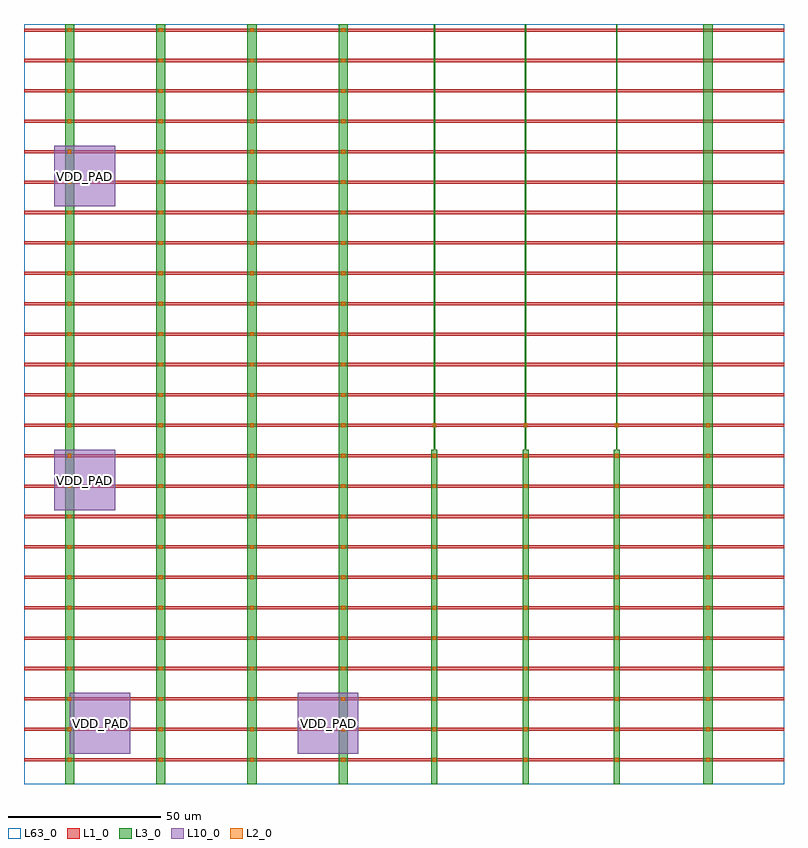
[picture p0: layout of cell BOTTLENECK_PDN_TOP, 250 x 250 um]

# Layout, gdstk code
import gdstk
lib = gdstk.Library(unit=1e-6, precision=1e-09)
def R(c, l, rs):  # rectangles x0, y0, x1, y1
    for r in rs: c.add(gdstk.rectangle(r[:2], r[2:], *l))
def A(c, l, x, y, w, h, nx, ny, dx, dy):  # array of equal rectangles
    R(c, l, [(x+i*dx, y+j*dy, x+i*dx+w, y+j*dy+h) for i in range(nx) for j in range(ny)])
L1_0 = (1, 0)
L2_0 = (2, 0)
L3_0 = (3, 0)
L10_0 = (10, 0)
L63_0 = (63, 0)

bottleneck_pdn_top = lib.new_cell('BOTTLENECK_PDN_TOP')
A(bottleneck_pdn_top, L1_0, 0, 7.5, 250, 1, 1, 25, 0, 10)
A(bottleneck_pdn_top, L2_0, 14.4, 7.4, 1.2, 1.2, 8, 12, 30, 10)
A(bottleneck_pdn_top, L2_0, 14.4, 127.4, 1.2, 1.2, 4, 13, 30, 10)
A(bottleneck_pdn_top, L3_0, 13.5, 0, 3, 250, 4, 1, 30, 0)
A(bottleneck_pdn_top, L3_0, 134, 0, 2, 110, 3, 1, 30, 0)
A(bottleneck_pdn_top, L3_0, 134.8, 110, 0.4, 140, 3, 1, 30, 0)
R(bottleneck_pdn_top, L3_0, [(223.5,0,226.5,250)])
R(bottleneck_pdn_top, L10_0, [(15,10,35,30), (90,10,110,30), (10,90,30,110), (10,190,30,210)])
R(bottleneck_pdn_top, L63_0, [(0,0,250,250)])
bottleneck_pdn_top.add(gdstk.Label('VDD_PAD', (25,20), layer=10, texttype=0))
bottleneck_pdn_top.add(gdstk.Label('VDD_PAD', (100,20), layer=10, texttype=0))
bottleneck_pdn_top.add(gdstk.Label('VDD_PAD', (20,100), layer=10, texttype=0))
bottleneck_pdn_top.add(gdstk.Label('VDD_PAD', (20,200), layer=10, texttype=0))

lib.write_gds('BOTTLENECK_PDN_TOP.gds')
